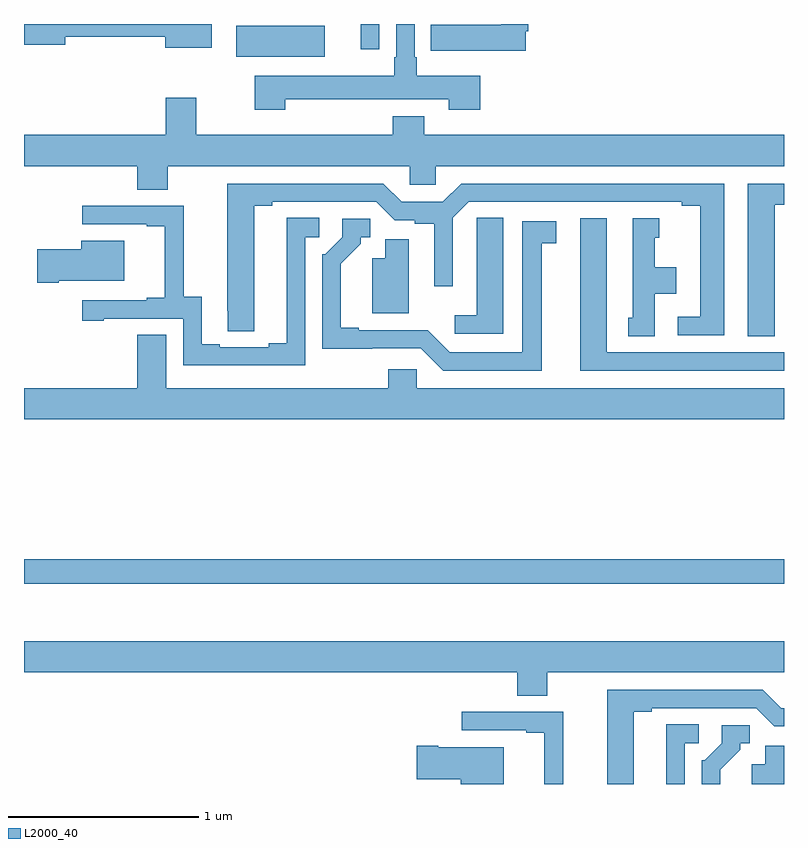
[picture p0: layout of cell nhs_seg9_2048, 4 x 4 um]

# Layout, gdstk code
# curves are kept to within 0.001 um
import gdstk
lib = gdstk.Library(unit=1e-6, precision=1e-09)
def R(c, l, rs):  # rectangles x0, y0, x1, y1
    for r in rs: c.add(gdstk.rectangle(r[:2], r[2:], *l))
def P(c, l, *ps):  # polygons
    for p in ps: c.add(gdstk.Polygon(p, *l))
L2000_40 = (2000, 40)

nhs_seg9_2048 = lib.new_cell('nhs_seg9_2048')
R(nhs_seg9_2048, L2000_40, [(227,1195.554,231,1195.682), (228.117,1198.328,228.583,1198.492), (228.773,1198.368,228.87,1198.5)])
P(nhs_seg9_2048, L2000_40, [(229.642,1198.462),(229.655,1198.462),(229.655,1198.5),(229.513,1198.5),(229.513,1198.497),(229.141,1198.497),(229.141,1198.359),(229.249,1198.359),(229.249,1198.358),(229.642,1198.358)],
  [(227.989,1198.5),(227,1198.5),(227,1198.39),(227.218,1198.39),(227.218,1198.432),(227.744,1198.432),(227.744,1198.376),(227.989,1198.376)],
  [(228.374,1198.103),(229.235,1198.103),(229.235,1198.05),(229.4,1198.05),(229.4,1198.228),(229.068,1198.228),(229.068,1198.324),(229.056,1198.324),(229.056,1198.5),(228.96,1198.5),(228.96,1198.324),(228.948,1198.324),(228.948,1198.228),(228.214,1198.228),(228.214,1198.05),(228.374,1198.05)],
  [(227.747,1197.916),(227,1197.916),(227,1197.752),(227.597,1197.752),(227.597,1197.628),(227.757,1197.628),(227.757,1197.752),(229.029,1197.752),(229.029,1197.654),(229.167,1197.654),(229.167,1197.752),(231,1197.752),(231,1197.916),(229.106,1197.916),(229.106,1198.015),(228.941,1198.015),(228.941,1197.916),(227.907,1197.916),(227.907,1198.111),(227.747,1198.111)],
  [(230.686,1197.66),(229.301,1197.66),(229.205,1197.564),(228.987,1197.564),(228.891,1197.66),(228.071,1197.66),(228.072,1196.884),(228.211,1196.884),(228.211,1197.544),(228.307,1197.544),(228.307,1197.564),(228.855,1197.564),(228.951,1197.468),(229.056,1197.468),(229.056,1197.448),(229.16,1197.448),(229.16,1197.12),(229.257,1197.12),(229.257,1197.48),(229.341,1197.564),(230.462,1197.564),(230.462,1197.544),(230.558,1197.544),(230.558,1196.958),(230.442,1196.958),(230.442,1196.862),(230.686,1196.862)],
  [(230.95,1197.549),(231,1197.549),(231,1197.66),(230.81,1197.66),(230.81,1196.857),(230.95,1196.857)],
  [(228.48,1197.378),(228.553,1197.378),(228.553,1197.479),(228.383,1197.479),(228.383,1196.819),(228.287,1196.819),(228.287,1196.799),(228.031,1196.799),(228.031,1196.814),(227.935,1196.814),(227.935,1197.065),(227.841,1197.065),(227.841,1197.543),(227.307,1197.543),(227.307,1197.447),(227.645,1197.447),(227.645,1197.435),(227.741,1197.435),(227.741,1197.058),(227.645,1197.058),(227.645,1197.045),(227.307,1197.045),(227.307,1196.937),(227.419,1196.937),(227.419,1196.949),(227.838,1196.949),(227.838,1196.703),(228.48,1196.703)],
  [(229.522,1197.479),(229.383,1197.479),(229.383,1197.371),(229.382,1197.371),(229.382,1196.968),(229.266,1196.968),(229.266,1196.871),(229.522,1196.871)],
  [(231,1196.772),(230.068,1196.772),(230.068,1197.478),(229.928,1197.478),(229.928,1196.676),(231,1196.676)],
  [(230.32,1197.08),(230.434,1197.08),(230.434,1197.22),(230.32,1197.22),(230.32,1197.375),(230.344,1197.375),(230.344,1197.478),(230.204,1197.478),(230.204,1196.955),(230.18,1196.955),(230.18,1196.857),(230.32,1196.857)],
  [(229.726,1197.346),(229.801,1197.346),(229.801,1197.462),(229.622,1197.462),(229.622,1196.772),(229.242,1196.772),(229.125,1196.889),(228.763,1196.889),(228.763,1196.902),(228.667,1196.902),(228.667,1197.238),(228.772,1197.343),(228.772,1197.378),(228.822,1197.378),(228.822,1197.474),(228.675,1197.474),(228.675,1197.378),(228.585,1197.288),(228.57,1197.288),(228.57,1196.792),(229.089,1196.793),(229.206,1196.676),(229.726,1196.676)],
  [(229.024,1197.366),(228.902,1197.366),(228.902,1197.268),(228.833,1197.268),(228.833,1196.978),(229.024,1196.978)],
  [(227.182,1197.149),(227.527,1197.149),(227.527,1197.358),(227.3,1197.358),(227.3,1197.315),(227.07,1197.315),(227.07,1197.137),(227.182,1197.137)],
  [(231,1196.584),(229.068,1196.584),(229.068,1196.682),(228.917,1196.682),(228.917,1196.584),(227.749,1196.584),(227.749,1196.864),(227.597,1196.864),(227.597,1196.584),(227,1196.584),(227,1196.42),(231,1196.42)],
  [(229.755,1195.088),(231,1195.088),(231,1195.252),(227,1195.252),(227,1195.088),(229.595,1195.088),(229.595,1194.964),(229.755,1194.964)],
  [(230.209,1194.88),(230.305,1194.88),(230.305,1194.9),(230.853,1194.9),(230.949,1194.804),(231,1194.804),(231,1194.9),(230.985,1194.9),(230.889,1194.996),(230.069,1194.996),(230.069,1194.5),(230.209,1194.5)],
  [(229.839,1194.879),(229.305,1194.879),(229.305,1194.783),(229.643,1194.783),(229.643,1194.771),(229.739,1194.771),(229.739,1194.5),(229.839,1194.5)],
  [(230.478,1194.714),(230.551,1194.714),(230.551,1194.815),(230.381,1194.815),(230.381,1194.5),(230.478,1194.5)],
  [(230.665,1194.574),(230.77,1194.679),(230.77,1194.714),(230.82,1194.714),(230.82,1194.81),(230.673,1194.81),(230.673,1194.714),(230.583,1194.624),(230.568,1194.624),(230.568,1194.5),(230.665,1194.5)],
  [(231,1194.702),(230.9,1194.702),(230.9,1194.604),(230.831,1194.604),(230.831,1194.5),(231,1194.5)],
  [(229.525,1194.694),(229.18,1194.694),(229.18,1194.702),(229.068,1194.702),(229.068,1194.524),(229.298,1194.524),(229.298,1194.5),(229.525,1194.5)])

lib.write_gds('nhs_seg9_2048.gds')
